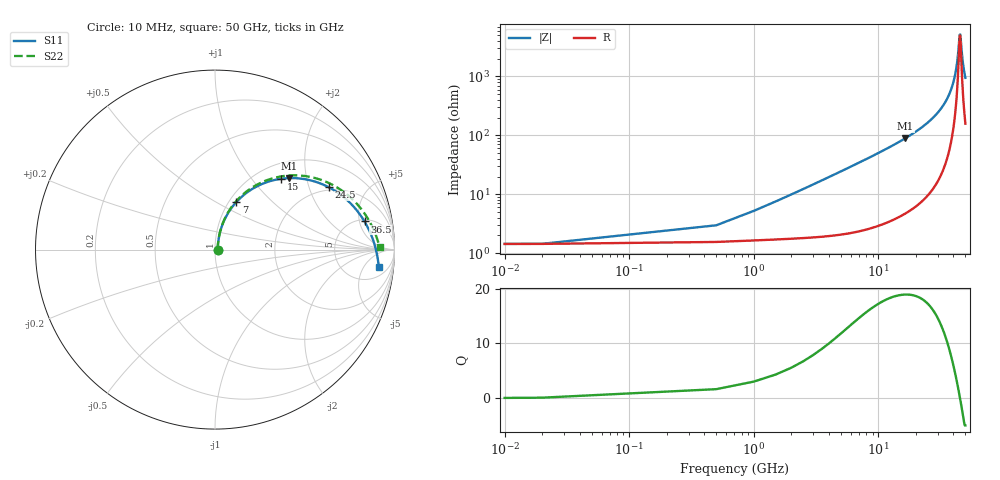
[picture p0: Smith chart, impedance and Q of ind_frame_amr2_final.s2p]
! Created with skrf 2.2.0 (http://scikit-rf.org).
# GHz S DB R 50.0
! Port[1] = P1
! Port[2] = P2
!freq dBS11 angS11 dBS21 angS21 dBS12 angS12 dBS22 angS22
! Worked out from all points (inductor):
!   102 points, 10 MHz to 50 GHz, reference 50 ohm
!   read as 1/Y11, port 2 shorted: L = 780 pH near 1 GHz
!   highest Q = 18.9 at 16.5 GHz (marker M1), where L = 862 pH
!   self-resonance near 45 GHz
!   S11 on the Smith chart (normalised r, x): 10 MHz: 1.03, +0.00; 7 GHz: 1.08, +0.62; 15 GHz: 1.28, +1.42; 24.5 GHz: 1.87, +2.73; 36.5 GHz: 5.37, +5.97; 50 GHz: 9, -11
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0.01  -36.98 2.0  -0.12 -0.0  -0.12 -0.0  -36.98 2.0
0.5  -31.34 54.5  -0.14 -1.6  -0.14 -1.6  -31.34 54.5
1  -26.64 67.2  -0.15 -3.1  -0.15 -3.1  -26.63 67.3
1.5  -23.47 71.7  -0.17 -4.5  -0.17 -4.5  -23.47 71.8
2  -21.13 73.4  -0.19 -6.0  -0.19 -6.0  -21.13 73.6
3  -17.75 73.8  -0.25 -8.9  -0.25 -8.9  -17.75 74.1
4  -15.34 72.5  -0.31 -11.8  -0.31 -11.8  -15.34 72.9
5.5  -12.71 69.4  -0.44 -16.0  -0.44 -16.0  -12.72 70.1
7  -10.78 65.9  -0.59 -20.1  -0.59 -20.1  -10.79 66.7
8.5  -9.28 62.2  -0.78 -24.0  -0.78 -24.0  -9.29 63.2
11.5  -7.10 55.0  -1.21 -31.5  -1.21 -31.5  -7.10 56.3
15  -5.37 47.0  -1.80 -39.5  -1.80 -39.5  -5.38 48.8
16.5  -4.80 43.8  -2.08 -42.7  -2.08 -42.7  -4.81 45.8
17  -4.63 42.8  -2.17 -43.8  -2.17 -43.8  -4.64 44.8
20.5  -3.64 35.9  -2.85 -50.6  -2.85 -50.6  -3.65 38.4
24.5  -2.82 28.7  -3.65 -57.6  -3.65 -57.6  -2.83 31.7
25.5  -2.65 27.0  -3.86 -59.3  -3.86 -59.3  -2.66 30.2
29.5  -2.10 20.7  -4.68 -65.5  -4.68 -65.5  -2.11 24.4
33.5  -1.68 14.8  -5.51 -71.2  -5.51 -71.2  -1.69 19.1
36.5  -1.44 10.6  -6.14 -75.2  -6.14 -75.2  -1.45 15.4
42  -1.09 3.5  -7.31 -82.0  -7.31 -82.0  -1.10 9.1
50  -0.74 -6.2  -9.06 -91.1  -9.06 -91.1  -0.75 0.8
